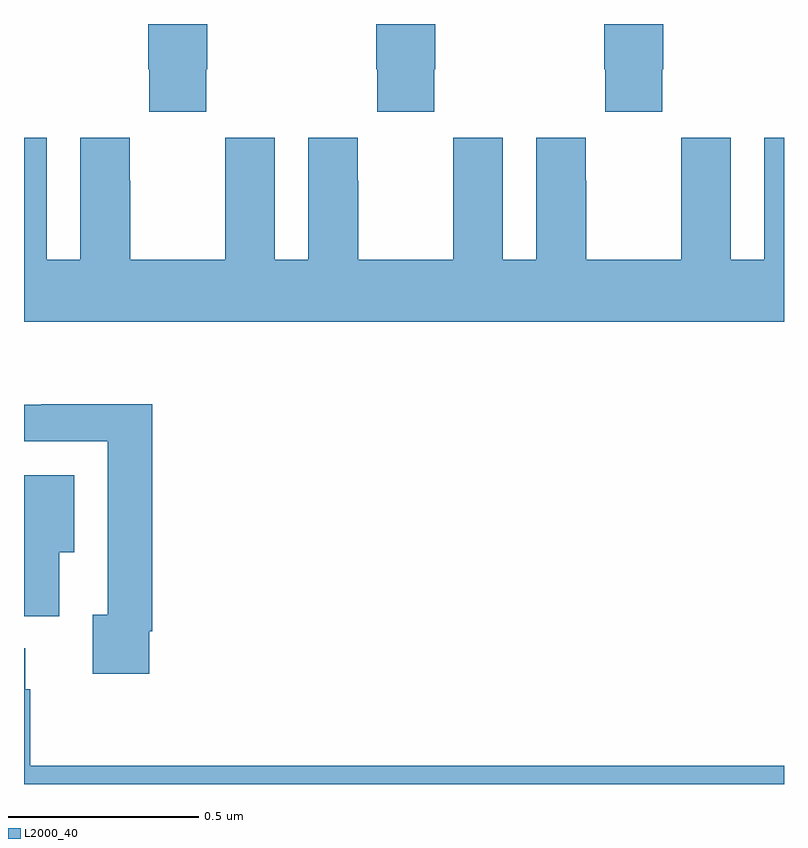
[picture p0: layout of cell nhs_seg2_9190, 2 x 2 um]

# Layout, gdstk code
import gdstk
lib = gdstk.Library(unit=1e-6, precision=1e-09)
def P(c, l, *ps):  # polygons
    for p in ps: c.add(gdstk.Polygon(p, *l))
L2000_40 = (2000, 40)

nhs_seg2_9190 = lib.new_cell('nhs_seg2_9190')
P(nhs_seg2_9190, L2000_40, [(226.479,601.681),(226.482,601.681),(226.482,601.8),(226.327,601.8),(226.327,601.681),(226.329,601.681),(226.329,601.569),(226.479,601.569)],
  [(227.079,601.681),(227.082,601.681),(227.082,601.8),(226.927,601.8),(226.927,601.681),(226.929,601.681),(226.929,601.569),(227.079,601.569)],
  [(227.679,601.681),(227.682,601.681),(227.682,601.8),(227.527,601.8),(227.527,601.681),(227.529,601.681),(227.529,601.569),(227.679,601.569)],
  [(228,601.501),(227.948,601.501),(227.948,601.18),(227.86,601.18),(227.86,601.501),(227.73,601.501),(227.73,601.388),(227.729,601.388),(227.729,601.18),(227.479,601.18),(227.479,601.388),(227.478,601.388),(227.478,601.501),(227.348,601.501),(227.348,601.18),(227.26,601.18),(227.26,601.501),(227.13,601.501),(227.13,601.388),(227.129,601.388),(227.129,601.18),(226.879,601.18),(226.879,601.388),(226.878,601.388),(226.878,601.501),(226.748,601.501),(226.748,601.18),(226.66,601.18),(226.66,601.501),(226.53,601.501),(226.53,601.388),(226.529,601.388),(226.529,601.18),(226.279,601.18),(226.279,601.388),(226.278,601.388),(226.278,601.501),(226.148,601.501),(226.148,601.18),(226.06,601.18),(226.06,601.501),(226,601.501),(226,601.016),(228,601.016)],
  [(226.33,600.202),(226.337,600.202),(226.337,600.8),(226.045,600.8),(226.045,600.798),(226,600.798),(226,600.702),(226.221,600.702),(226.221,600.246),(226.181,600.246),(226.181,600.09),(226.33,600.09)],
  [(226.093,600.41),(226.132,600.41),(226.132,600.613),(226,600.613),(226,600.242),(226.093,600.242)],
  [(228,599.848),(226.016,599.848),(226.016,600.05),(226.003,600.05),(226.003,600.157),(226,600.157),(226,599.8),(228,599.8)])

lib.write_gds('nhs_seg2_9190.gds')
